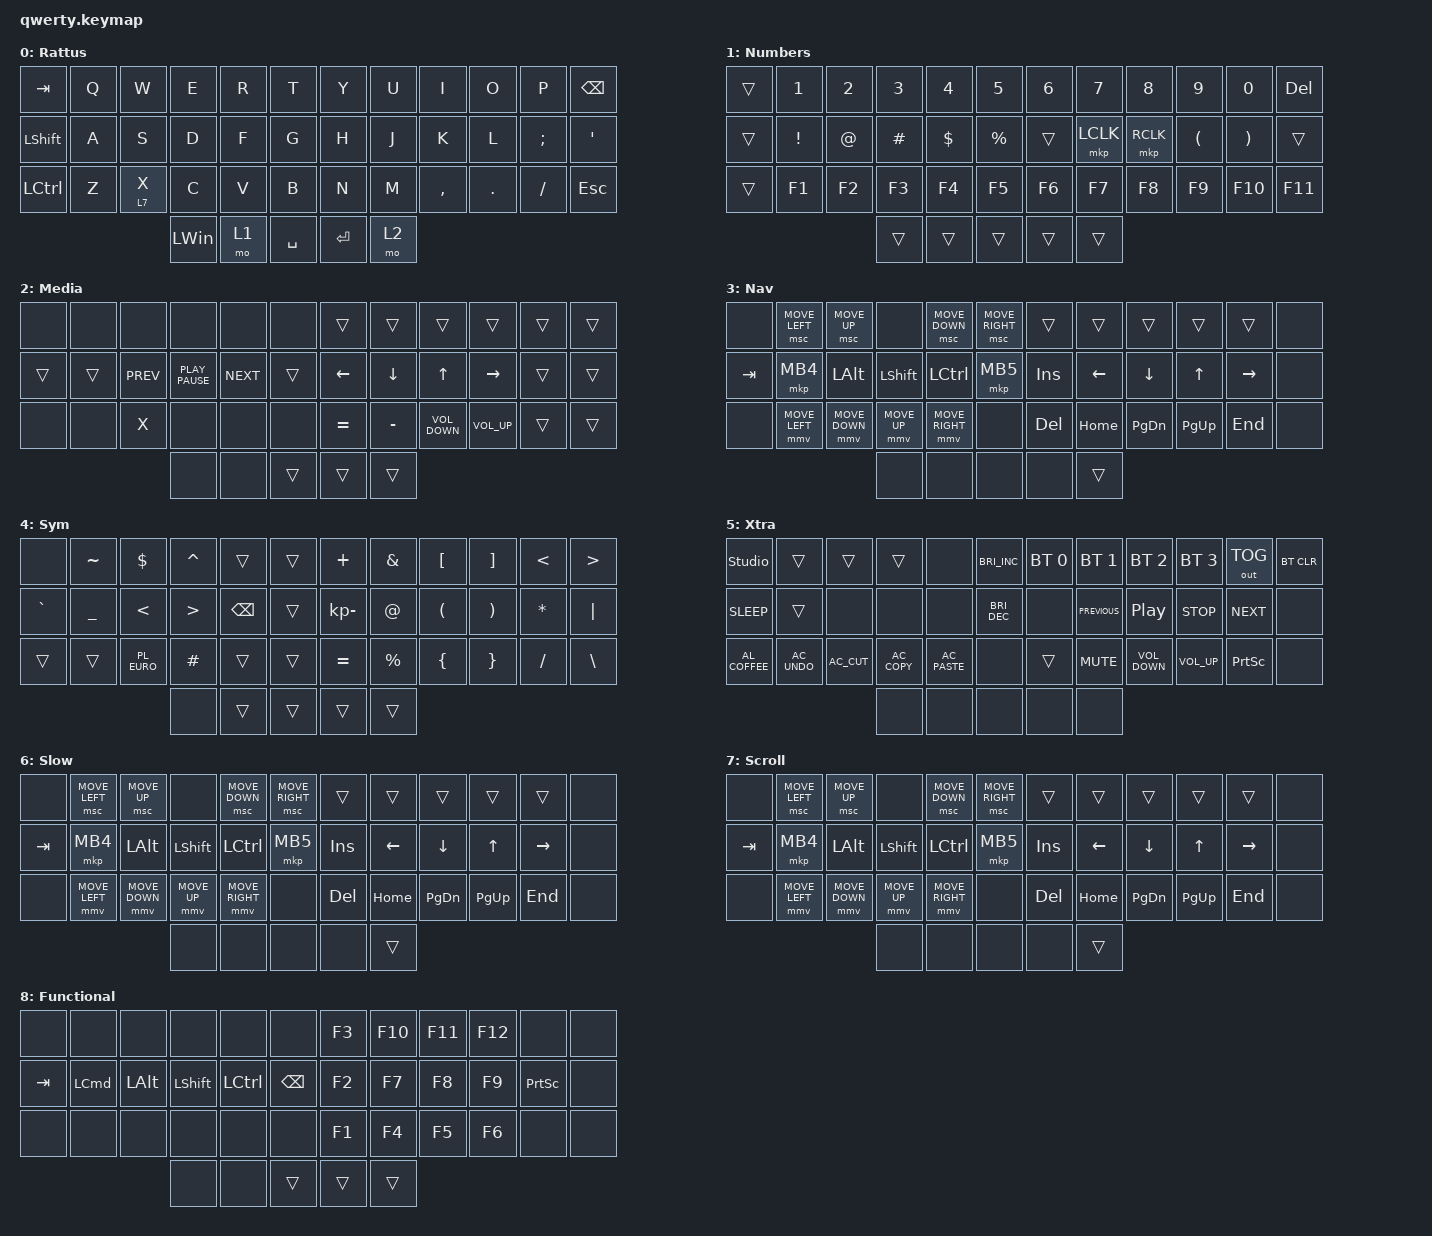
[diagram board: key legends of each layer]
/* upstream bindings and behaviors */

#include <dt-bindings/zmk/mouse.h>
#include <behaviors/mouse_keys.dtsi>
#include <behaviors.dtsi>
#include <dt-bindings/zmk/bt.h>
#include <dt-bindings/zmk/keys.h>
#include <dt-bindings/zmk/outputs.h>
#include <dt-bindings/zmk/pointing.h>

/* local overlays */

#include "keys_ru.h"
#include "keys_pl.h"
#include "macros.dtsi"
#include "behaviors.dtsi"
#include "combos.dtsi"

/ {
    /* --- KEYMAP CONFIG --- */
    // ╭──────┬──────┬──────┬──────┬──────┬──────╮  ╭──────┬──────┬──────┬──────┬──────┬──────╮
    //    00     01     02     03    04      05        06     07     08     09     10     11
    // ├──────┼──────┼──────┼──────┼──────┼──────┤  ├──────┼──────┼──────┼──────┼──────┼──────┤
    //    12     13     14     15    16      17        18     19     20     21     22     23
    // ├──────┼──────┼──────┼──────┼──────┼──────┤  ├──────┼──────┼──────┼──────┼──────┼──────┤
    //    24     25     26     27    28      29        30     31     32     33     34     35
    // ╰──────┴──────┴──────┼──────┼──────┼──────┤  ├──────┼──────┼──────┴──────┴──────┴──────╯
    //                         36     37     38        39     40
    //                      ╰──────┴──────┴──────╯  ╰──────┴──────╯
    // #define BASE    0
    // #define NUM     1
    // #define NAV     2
    // #define SYM     3
    // #define GAME    4
    // #define EXTRAS  5
    // #define SLOW    6
    // #define SCROLL  7

    keymap {
        compatible = "zmk,keymap";

        Base {
            display-name = "Rattus";
            bindings = <
&kp TAB         &kp Q  &kp W    &kp E         &kp R  &kp T        &kp Y      &kp U  &kp I      &kp O       &kp P     &kp BACKSPACE
&kp LEFT_SHIFT  &kp A  &kp S    &kp D         &kp F  &kp G        &kp H      &kp J  &kp K      &kp L       &kp SEMI  &kp APOS
&kp LCTRL       &kp Z  &lt 7 X  &kp C         &kp V  &kp B        &kp N      &kp M  &kp COMMA  &kp PERIOD  &kp FSLH  &kp ESC
                                &kp LEFT_WIN  &mo 1  &kp SPACE    &kp ENTER  &mo 2
            >;
        };

        NUM {
            display-name = "Numbers";
            bindings = <
&trans  &kp NUMBER_1     &kp NUMBER_2  &kp NUMBER_3  &kp NUMBER_4  &kp NUMBER_5    &kp NUMBER_6  &kp NUMBER_7  &kp NUMBER_8  &kp NUMBER_9          &kp NUMBER_0           &kp DELETE
&trans  &kp EXCLAMATION  &kp AT        &kp HASH      &kp DOLLAR    &kp PERCENT     &trans        &mkp LCLK     &mkp RCLK     &kp LEFT_PARENTHESIS  &kp RIGHT_PARENTHESIS  &trans
&trans  &kp F1           &kp F2        &kp F3        &kp F4        &kp F5          &kp F6        &kp F7        &kp F8        &kp F9                &kp F10                &kp F11
                                       &trans        &trans        &trans          &trans        &trans
            >;
        };

        NAV {
            display-name = "Media";
            bindings = <
&none   &none   &none       &none             &none       &none     &trans     &trans     &trans             &trans           &trans  &trans
&trans  &trans  &kp K_PREV  &kp K_PLAY_PAUSE  &kp K_NEXT  &trans    &kp LEFT   &kp DOWN   &kp UP             &kp RIGHT        &trans  &trans
&none   &none   &kp X       &none             &none       &none     &kp EQUAL  &kp MINUS  &kp C_VOLUME_DOWN  &kp C_VOLUME_UP  &trans  &trans
                            &none             &none       &trans    &trans     &trans
            >;
        };

        SYM {
            display-name = "Nav";
            bindings = <
&none    &msc MOVE_LEFT  &msc MOVE_UP    &none         &msc MOVE_DOWN   &msc MOVE_RIGHT    &trans      &trans          &trans     &trans     &trans           &none
&kp TAB  &mkp MB4        &kp LALT        &kp LSHFT     &kp LCTRL        &mkp MB5           &kp INSERT  &kp LEFT_ARROW  &kp DOWN   &kp UP     &kp RIGHT_ARROW  &none
&none    &mmv MOVE_LEFT  &mmv MOVE_DOWN  &mmv MOVE_UP  &mmv MOVE_RIGHT  &none              &kp DELETE  &kp HOME        &kp PG_DN  &kp PG_UP  &kp END          &none
                                         &none         &none            &none              &none       &trans
            >;
        };

        GAME {
            display-name = "Sym";
            bindings = <
&none      &kp TILDE  &kp DLLR     &kp CARET  &trans         &trans    &kp PLUS      &kp AMPS   &kp LBKT  &kp RBKT  &kp LT     &kp GT
&kp GRAVE  &kp UNDER  &kp LT       &kp GT     &kp BACKSPACE  &trans    &kp KP_MINUS  &kp AT     &kp LPAR  &kp RPAR  &kp ASTRK  &kp PIPE
&trans     &trans     &kp PL_EURO  &kp HASH   &trans         &trans    &kp EQUAL     &kp PRCNT  &kp LBRC  &kp RBRC  &kp FSLH   &kp BSLH
                                   &none      &trans         &trans    &trans        &trans
            >;
        };

        EXTRAS {
            display-name = "Xtra";
            bindings = <
&studio_unlock   &trans         &trans        &trans         &none           &kp C_BRIGHTNESS_INC    &bt BT_SEL 0  &bt BT_SEL 1    &bt BT_SEL 2       &bt BT_SEL 3     &out OUT_TOG     &bt BT_CLR
&kp C_SLEEP      &trans         &none         &none          &none           &kp C_BRIGHTNESS_DEC    &none         &kp C_PREVIOUS  &kp C_PLAY_PAUSE   &kp C_STOP       &kp C_NEXT       &none
&kp C_AL_COFFEE  &kp C_AC_UNDO  &kp C_AC_CUT  &kp C_AC_COPY  &kp C_AC_PASTE  &none                   &trans        &kp K_MUTE      &kp C_VOLUME_DOWN  &kp C_VOLUME_UP  &kp PRINTSCREEN  &none
                                              &none          &none           &none                   &none         &none
            >;
        };

        SLOW {
            display-name = "Slow";
            bindings = <
&none    &msc MOVE_LEFT  &msc MOVE_UP    &none         &msc MOVE_DOWN   &msc MOVE_RIGHT    &trans      &trans          &trans     &trans     &trans           &none
&kp TAB  &mkp MB4        &kp LALT        &kp LSHFT     &kp LCTRL        &mkp MB5           &kp INSERT  &kp LEFT_ARROW  &kp DOWN   &kp UP     &kp RIGHT_ARROW  &none
&none    &mmv MOVE_LEFT  &mmv MOVE_DOWN  &mmv MOVE_UP  &mmv MOVE_RIGHT  &none              &kp DELETE  &kp HOME        &kp PG_DN  &kp PG_UP  &kp END          &none
                                         &none         &none            &none              &none       &trans
            >;
        };

        SCROLL {
            display-name = "Scroll";
            bindings = <
&none    &msc MOVE_LEFT  &msc MOVE_UP    &none         &msc MOVE_DOWN   &msc MOVE_RIGHT    &trans      &trans          &trans     &trans     &trans           &none
&kp TAB  &mkp MB4        &kp LALT        &kp LSHFT     &kp LCTRL        &mkp MB5           &kp INSERT  &kp LEFT_ARROW  &kp DOWN   &kp UP     &kp RIGHT_ARROW  &none
&none    &mmv MOVE_LEFT  &mmv MOVE_DOWN  &mmv MOVE_UP  &mmv MOVE_RIGHT  &none              &kp DELETE  &kp HOME        &kp PG_DN  &kp PG_UP  &kp END          &none
                                         &none         &none            &none              &none       &trans
            >;
        };

        FUNC {
            display-name = "Functional";
            bindings = <
&none    &none     &none     &none       &none      &none            &kp F3  &kp F10  &kp F11  &kp F12  &none            &none
&kp TAB  &kp LCMD  &kp LALT  &kp LSHIFT  &kp LCTRL  &kp BACKSPACE    &kp F2  &kp F7   &kp F8   &kp F9   &kp PRINTSCREEN  &none
&none    &none     &none     &none       &none      &none            &kp F1  &kp F4   &kp F5   &kp F6   &none            &none
                             &none       &none      &trans           &trans  &trans
            >;
        };
    };
};
